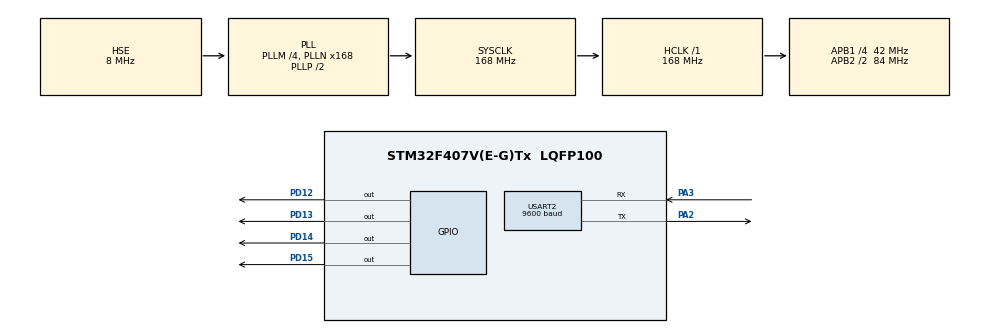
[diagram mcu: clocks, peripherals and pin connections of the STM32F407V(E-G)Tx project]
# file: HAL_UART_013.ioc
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Dma.Request0=USART2_TX
Dma.USART2_TX.0.Direction=DMA_MEMORY_TO_PERIPH
Dma.USART2_TX.0.FIFOMode=DMA_FIFOMODE_DISABLE
Dma.USART2_TX.0.Instance=DMA1_Stream6
Dma.USART2_TX.0.MemDataAlignment=DMA_MDATAALIGN_BYTE
Dma.USART2_TX.0.MemInc=DMA_MINC_ENABLE
Dma.USART2_TX.0.Mode=DMA_CIRCULAR
Dma.USART2_TX.0.PeriphDataAlignment=DMA_PDATAALIGN_BYTE
Dma.USART2_TX.0.PeriphInc=DMA_PINC_DISABLE
Dma.USART2_TX.0.Priority=DMA_PRIORITY_LOW
Mcu.Family=STM32F4
Mcu.Name=STM32F407V(E-G)Tx
Mcu.Package=LQFP100
NVIC.DMA1_Stream6_IRQn=true\:0\:0\:false\:false\:true\:false\:true\:true
NVIC.PriorityGroup=NVIC_PRIORITYGROUP_4
PA13.Mode=Serial_Wire
PA13.Signal=SYS_JTMS-SWDIO
PA14.Mode=Serial_Wire
PA14.Signal=SYS_JTCK-SWCLK
PA2.Mode=Asynchronous
PA2.Signal=USART2_TX
PA3.Mode=Asynchronous
PA3.Signal=USART2_RX
PD12.Signal=GPIO_Output
PD13.Signal=GPIO_Output
PD14.Signal=GPIO_Output
PD15.Signal=GPIO_Output
PH0-OSC_IN.Mode=HSE-External-Oscillator
PH0-OSC_IN.Signal=RCC_OSC_IN
PH1-OSC_OUT.Mode=HSE-External-Oscillator
PH1-OSC_OUT.Signal=RCC_OSC_OUT
ProjectManager.HeapSize=0x200
ProjectManager.StackSize=0x400
ProjectManager.TargetToolchain=STM32CubeIDE
RCC.48MHZClocksFreq_Value=84000000
RCC.AHBFreq_Value=168000000
RCC.APB1CLKDivider=RCC_HCLK_DIV4
RCC.APB1Freq_Value=42000000
RCC.APB1TimFreq_Value=84000000
RCC.APB2CLKDivider=RCC_HCLK_DIV2
RCC.APB2Freq_Value=84000000
RCC.APB2TimFreq_Value=168000000
RCC.CortexFreq_Value=168000000
RCC.HCLKFreq_Value=168000000
RCC.HSE_VALUE=8000000
RCC.HSI_VALUE=16000000
RCC.LSE_VALUE=32768
RCC.PLLM=4
RCC.PLLN=168
RCC.PLLSourceVirtual=RCC_PLLSOURCE_HSE
RCC.SYSCLKFreq_VALUE=168000000
RCC.SYSCLKSource=RCC_SYSCLKSOURCE_PLLCLK
RCC.VCOOutputFreq_Value=336000000
USART2.BaudRate=9600
USART2.VirtualMode=VM_ASYNC
board=custom

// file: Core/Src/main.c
/* USER CODE BEGIN Header */
/**
  ******************************************************************************
  * @file           : main.c
  * @brief          : Main program body
  ******************************************************************************
  * @attention
  *
  * Copyright (c) 2024 STMicroelectronics.
  * All rights reserved.
  *
  * This software is licensed under terms that can be found in the LICENSE file
  * in the root directory of this software component.
  * If no LICENSE file comes with this software, it is provided AS-IS.
  *
  ******************************************************************************
  */
/* USER CODE END Header */
#include "main.h"

/* USER CODE BEGIN Includes */

#include "string.h"
#include "stdio.h"

uint8_t data[2000];
uint8_t count = 0;

/* USER CODE END Includes */

UART_HandleTypeDef huart2;
DMA_HandleTypeDef hdma_usart2_tx;

void SystemClock_Config(void);
static void MX_GPIO_Init(void);
static void MX_DMA_Init(void);
static void MX_USART2_UART_Init(void);

/* USER CODE BEGIN 0 */

void HAL_UART_TxCpltCallback(UART_HandleTypeDef *huart)
{
	for(int i = 1000;i < 2000;i++)
	{
		data[i] = 'y';
	}
}

void HAL_UART_TxHalfCpltCallback(UART_HandleTypeDef *huart)
{
  for(int i = 0;i < 1000;i++)
  {
	  data[i] = 'z';
  }
}

/* USER CODE END 0 */

int main(void)
{

  /* MCU Configuration--------------------------------------------------------*/

  /* Reset of all peripherals, Initializes the Flash interface and the Systick. */
  HAL_Init();

  /* Configure the system clock */
  SystemClock_Config();

  /* Initialize all configured peripherals */
  MX_GPIO_Init();
  MX_DMA_Init();
  MX_USART2_UART_Init();
  /* USER CODE BEGIN 2 */

  for(int i = 0;i < 2000;i++)
  {
	  data[i] = 'x';
  }

  /* USER CODE END 2 */

  /* Infinite loop */
  while (1)
  {

    /* USER CODE BEGIN 3 */
	  HAL_GPIO_TogglePin(GPIOD, GPIO_PIN_12);
	  HAL_Delay(250);

	  count = count + 1;

	  if((count % 20) == 0)
	  {
		  HAL_UART_Transmit_DMA(&huart2, data, sizeof(data));
	  }

  }
  /* USER CODE END 3 */
}

void SystemClock_Config(void)
{
  RCC_OscInitTypeDef RCC_OscInitStruct = {0};
  RCC_ClkInitTypeDef RCC_ClkInitStruct = {0};

  /** Configure the main internal regulator output voltage
  */
  __HAL_RCC_PWR_CLK_ENABLE();
  __HAL_PWR_VOLTAGESCALING_CONFIG(PWR_REGULATOR_VOLTAGE_SCALE1);

  /** Initializes the RCC Oscillators according to the specified parameters
  * in the RCC_OscInitTypeDef structure.
  */
  RCC_OscInitStruct.OscillatorType = RCC_OSCILLATORTYPE_HSE;
  RCC_OscInitStruct.HSEState = RCC_HSE_ON;
  RCC_OscInitStruct.PLL.PLLState = RCC_PLL_ON;
  RCC_OscInitStruct.PLL.PLLSource = RCC_PLLSOURCE_HSE;
  RCC_OscInitStruct.PLL.PLLM = 4;
  RCC_OscInitStruct.PLL.PLLN = 168;
  RCC_OscInitStruct.PLL.PLLP = RCC_PLLP_DIV2;
  RCC_OscInitStruct.PLL.PLLQ = 4;
  if (HAL_RCC_OscConfig(&RCC_OscInitStruct) != HAL_OK)
  {
    Error_Handler();
  }

  /** Initializes the CPU, AHB and APB buses clocks
  */
  RCC_ClkInitStruct.ClockType = RCC_CLOCKTYPE_HCLK|RCC_CLOCKTYPE_SYSCLK
                              |RCC_CLOCKTYPE_PCLK1|RCC_CLOCKTYPE_PCLK2;
  RCC_ClkInitStruct.SYSCLKSource = RCC_SYSCLKSOURCE_PLLCLK;
  RCC_ClkInitStruct.AHBCLKDivider = RCC_SYSCLK_DIV1;
  RCC_ClkInitStruct.APB1CLKDivider = RCC_HCLK_DIV4;
  RCC_ClkInitStruct.APB2CLKDivider = RCC_HCLK_DIV2;

  if (HAL_RCC_ClockConfig(&RCC_ClkInitStruct, FLASH_LATENCY_5) != HAL_OK)
  {
    Error_Handler();
  }
}

static void MX_USART2_UART_Init(void)
{

  huart2.Instance = USART2;
  huart2.Init.BaudRate = 9600;
  huart2.Init.WordLength = UART_WORDLENGTH_8B;
  huart2.Init.StopBits = UART_STOPBITS_1;
  huart2.Init.Parity = UART_PARITY_NONE;
  huart2.Init.Mode = UART_MODE_TX_RX;
  huart2.Init.HwFlowCtl = UART_HWCONTROL_NONE;
  huart2.Init.OverSampling = UART_OVERSAMPLING_16;
  if (HAL_UART_Init(&huart2) != HAL_OK)
  {
    Error_Handler();
  }

}

static void MX_DMA_Init(void)
{

  /* DMA controller clock enable */
  __HAL_RCC_DMA1_CLK_ENABLE();

  /* DMA interrupt init */
  /* DMA1_Stream6_IRQn interrupt configuration */
  HAL_NVIC_SetPriority(DMA1_Stream6_IRQn, 0, 0);
  HAL_NVIC_EnableIRQ(DMA1_Stream6_IRQn);

}

static void MX_GPIO_Init(void)
{
  GPIO_InitTypeDef GPIO_InitStruct = {0};

  /* GPIO Ports Clock Enable */
  __HAL_RCC_GPIOH_CLK_ENABLE();
  __HAL_RCC_GPIOA_CLK_ENABLE();
  __HAL_RCC_GPIOD_CLK_ENABLE();

  /*Configure GPIO pin Output Level */
  HAL_GPIO_WritePin(GPIOD, GPIO_PIN_12|GPIO_PIN_13|GPIO_PIN_14|GPIO_PIN_15, GPIO_PIN_RESET);

  /*Configure GPIO pins : PD12 PD13 PD14 PD15 */
  GPIO_InitStruct.Pin = GPIO_PIN_12|GPIO_PIN_13|GPIO_PIN_14|GPIO_PIN_15;
  GPIO_InitStruct.Mode = GPIO_MODE_OUTPUT_PP;
  GPIO_InitStruct.Pull = GPIO_NOPULL;
  GPIO_InitStruct.Speed = GPIO_SPEED_FREQ_LOW;
  HAL_GPIO_Init(GPIOD, &GPIO_InitStruct);

}

void Error_Handler(void)
{
  __disable_irq();
  while (1)
  {
  }
}
